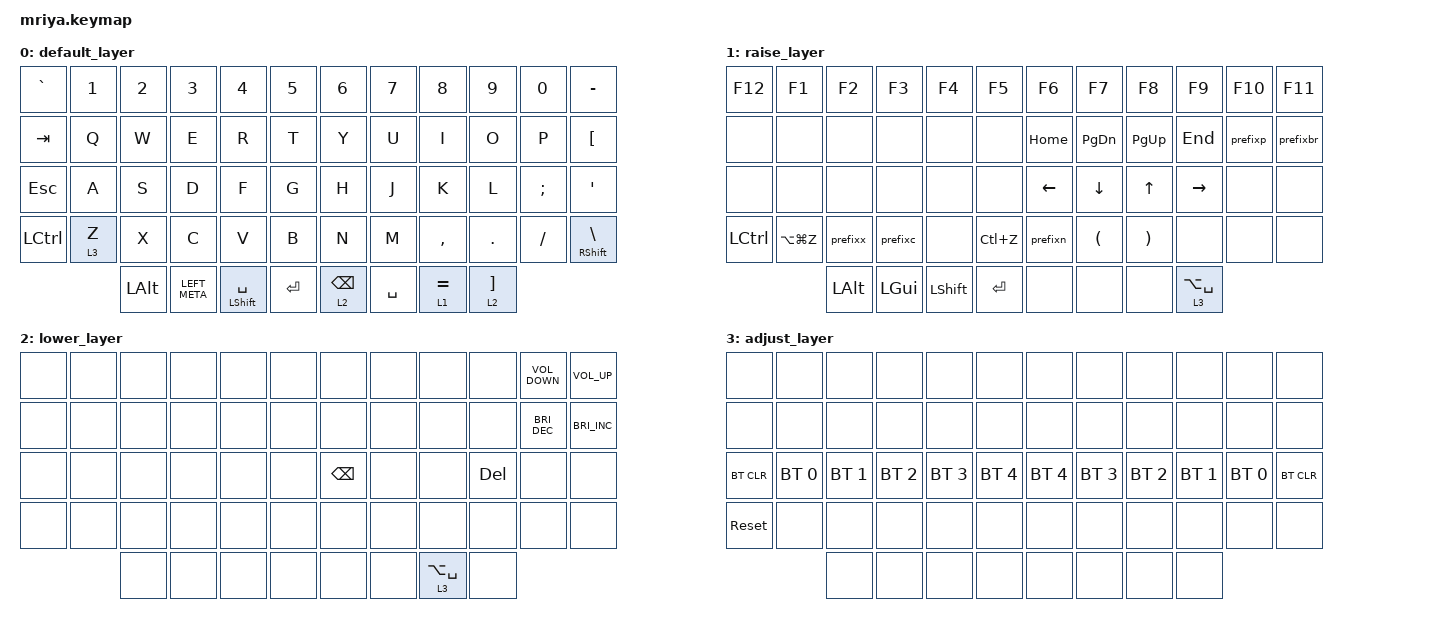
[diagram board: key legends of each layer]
/*
 * Copyright (c) 2023 Andrei Gaevskii
 *
 * SPDX-License-Identifier: MIT
 */

#include <behaviors.dtsi>
#include <dt-bindings/zmk/bt.h>
#include <dt-bindings/zmk/keys.h>

#define DEF 0
#define LWR 1
#define RSE 2
#define ADJ 3

&lt { quick_tap_ms = <200>; };

&mt { quick_tap_ms = <200>; };

/ {
    macros {
        prefixc: ctrlbc {
            compatible = "zmk,behavior-macro";
            #binding-cells = <0>;
            bindings = <&kp LC(Z) &kp C>;
            label = "CTRLBC";
        };

        prefixbr: ctrlbbr {
            compatible = "zmk,behavior-macro";
            #binding-cells = <0>;
            bindings = <&kp LC(Z) &kp LEFT_BRACKET>;
            label = "CTRLBBR";
        };

        prefixx: ctrlbx {
            compatible = "zmk,behavior-macro";
            #binding-cells = <0>;
            bindings = <&kp LC(Z) &kp X>;
            label = "CTRLBX";
        };

        prefixn: ctrlbn {
            compatible = "zmk,behavior-macro";
            #binding-cells = <0>;
            bindings = <&kp LC(Z) &kp N>;
            label = "CTRLBN";
        };

        prefixp: ctrlbp {
            compatible = "zmk,behavior-macro";
            #binding-cells = <0>;
            bindings = <&kp LC(Z) &kp P>;
            label = "CTRLBP";
        };
    };

    keymap {
        compatible = "zmk,keymap";

        default_layer {
            bindings = <
  &kp GRAVE         &kp N1   &kp N2        &kp N3         &kp N4           &kp N5     &kp N6           &kp N7     &kp N8       &kp N9               &kp N0    &kp MINUS
  &kp TAB           &kp Q    &kp W         &kp E          &kp R            &kp T      &kp Y            &kp U      &kp I        &kp O                &kp P     &kp LBKT
  &kp ESC           &kp A    &kp S         &kp D          &kp F            &kp G      &kp H            &kp J      &kp K        &kp L                &kp SEMI  &kp SINGLE_QUOTE
  &kp LEFT_CONTROL  &lt 3 Z  &kp X         &kp C          &kp V            &kp B      &kp N            &kp M      &kp COMMA    &kp DOT              &kp FSLH  &mt RIGHT_SHIFT BACKSLASH
                             &kp LEFT_ALT  &kp LEFT_META  &mt LSHFT SPACE  &kp RET    &lt 2 BACKSPACE  &kp SPACE  &lt 1 EQUAL  &lt 2 RIGHT_BRACKET
            >;
        };

        raise_layer {
            bindings = <
  &kp F12    &kp F1         &kp F2        &kp F3        &kp F4          &kp F5       &kp F6    &kp F7                &kp F8                 &kp F9           &kp F10   &kp F11
  &none      &none          &none         &none         &none           &none        &kp HOME  &kp PAGE_DOWN         &kp PAGE_UP            &kp END          &prefixp  &prefixbr
  &none      &none          &none         &none         &none           &none        &kp LEFT  &kp DOWN              &kp UP                 &kp RIGHT        &none     &none
  &kp LCTRL  &kp LA(LG(Z))  &prefixx      &prefixc      &none           &kp LC(Z)    &prefixn  &kp LEFT_PARENTHESIS  &kp RIGHT_PARENTHESIS  &none            &none     &none
                            &kp LEFT_ALT  &kp LEFT_GUI  &kp LEFT_SHIFT  &kp ENTER    &none     &none                 &none                  &lt 3 LA(SPACE)
            >;
        };

        lower_layer {
            bindings = <
  &none  &none  &none  &none  &none  &none    &none          &none  &none            &none    &kp C_VOLUME_DOWN     &kp C_VOLUME_UP
  &none  &none  &none  &none  &none  &none    &none          &none  &none            &none    &kp C_BRIGHTNESS_DEC  &kp C_BRIGHTNESS_INC
  &none  &none  &none  &none  &none  &none    &kp BACKSPACE  &none  &none            &kp DEL  &none                 &none
  &none  &none  &none  &none  &none  &none    &none          &none  &none            &none    &none                 &none
                &none  &none  &none  &none    &none          &none  &lt 3 LA(SPACE)  &none
            >;
        };

        adjust_layer {
            bindings = <
  &none       &none         &none         &none         &none         &none           &none         &none         &none         &none         &none         &none
  &none       &none         &none         &none         &none         &none           &none         &none         &none         &none         &none         &none
  &bt BT_CLR  &bt BT_SEL 0  &bt BT_SEL 1  &bt BT_SEL 2  &bt BT_SEL 3  &bt BT_SEL 4    &bt BT_SEL 4  &bt BT_SEL 3  &bt BT_SEL 2  &bt BT_SEL 1  &bt BT_SEL 0  &bt BT_CLR
  &sys_reset  &none         &none         &none         &none         &none           &none         &none         &none         &none         &none         &none
                            &none         &none         &none         &none           &none         &none         &none         &none
            >;
        };
    };
};
